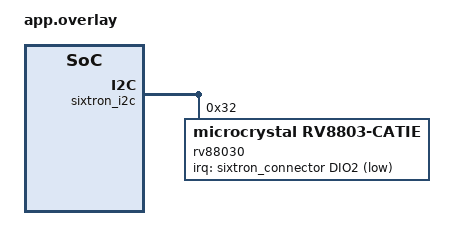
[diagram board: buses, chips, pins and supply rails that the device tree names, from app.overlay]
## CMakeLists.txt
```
# RV-8803-C7 RTC example application
#
# Copyright (c) 2024 CATIE
# SPDX-License-Identifier: Apache-2.0

cmake_minimum_required(VERSION 3.20.0)
find_package(Zephyr REQUIRED HINTS $ENV{ZEPHYR_BASE})
project(rv_8803)

FILE(GLOB app_sources src/main.c)
target_sources(app PRIVATE ${app_sources})
```

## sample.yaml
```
sample:
  description: Demonstration of the RV-8803 RTC driver
  name: RV-8803 Sample
tests:
  sample.default:
    tags: rtc
    integration_platforms:
      - zest_core_stm32l4a6rg
    depends_on: i2c
```

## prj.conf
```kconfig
CONFIG_STDOUT_CONSOLE=y

CONFIG_MFD=y
CONFIG_MFD_RV8803_DETECT_BATTERY_STATE=y
CONFIG_MFD_RV8803_WORKQUEUE=y
CONFIG_MFD_RV8803_WORKQUEUE_PRIORITY=0
CONFIG_MFD_RV8803_WORKQUEUE_SIZE=512

CONFIG_RTC=y
CONFIG_RTC_ALARM=y
CONFIG_RTC_UPDATE=y

CONFIG_COUNTER=y

CONFIG_CLOCK_CONTROL=y

CONFIG_LOG=y
CONFIG_RTC_LOG_LEVEL_INF=y
```

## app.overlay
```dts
/*
 * Copyright (c) 2024 CATIE
 *
 * SPDX-License-Identifier: Apache-2.0
 */

#include <zephyr/dt-bindings/gpio/sixtron-header.h>

/ {
	aliases {
		rv8803 = &rv88030;
		rtc8803 = &rv88030_rtc;
		counter8803 = &rv88030_cnt;
		clock8803 = &rv88030_clk;
	};
};

&sixtron_i2c {
	status = "okay";

	rv88030: rv8803@32 {
		compatible = "microcrystal,rv8803-catie";
		reg = <0x32>;
		irq-gpios = <&sixtron_connector DIO2 (GPIO_ACTIVE_LOW | GPIO_PULL_UP)>;

		rv88030_rtc: rv8803-rtc {
			compatible = "microcrystal,rv8803-rtc-catie";
		};

		rv88030_cnt: rv8803-cnt {
			compatible = "microcrystal,rv8803-cnt-catie";
			frequency = "1";
		};

		rv88030_clk: rv8803-clk {
			compatible = "microcrystal,rv8803-clk-catie";
			#clock-cells = <0>;
		};
	};
};
```

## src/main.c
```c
/*
 * Copyright (c) 2024, CATIE
 * SPDX-License-Identifier: Apache-2.0
 */

#include <zephyr/kernel.h>
#include <zephyr/device.h>
#include <zephyr/drivers/rtc.h>
#include <zephyr/drivers/counter.h>
#include <zephyr/drivers/clock_control.h>

#include <time.h>
#include <string.h>

#if CONFIG_MFD_RV8803_DETECT_BATTERY_STATE
#include "rv8803.h"
#endif /* CONFIG_RV8803_DETECT_BATTERY_STATE */

#define RTC_TEST_GET_SET_TIME         (1767225595UL) // Wed Dec 31 2025 23:59:55 GMT+0000
#define TIME_SIZE                     64
#define RV8803_CLK_FREQUENCY_32768_HZ 0x00
#define RV8803_CLK_FREQUENCY_1024_HZ  0x01
#define RV8803_CLK_FREQUENCY_1_HZ     0x02

#define RV8803_DT_HAS_MFD CONFIG_DT_HAS_MICROCRYSTAL_RV8803_ENABLED
#define RV8803_DT_HAS_RTC CONFIG_DT_HAS_MICROCRYSTAL_RV8803_RTC_ENABLED
#define RV8803_DT_HAS_CNT CONFIG_DT_HAS_MICROCRYSTAL_RV8803_COUNTER_ENABLED
#define RV8803_DT_HAS_CLK CONFIG_DT_HAS_MICROCRYSTAL_RV8803_CLOCK_ENABLED

#define RV8803_NODE     DT_NODELABEL(rv88030)
#define RV8803_RTC_NODE DT_CHILD(RV8803_NODE, rv8803_rtc)
#define RV8803_CNT_NODE DT_CHILD(RV8803_NODE, rv8803_counter)
#define RV8803_CLK_NODE DT_CHILD(RV8803_NODE, rv8803_clock)

#if RV8803_DT_HAS_MFD
static const struct device *rv8803_dev = DEVICE_DT_GET(RV8803_NODE);
#endif
#if RV8803_DT_HAS_RTC
static const struct device *rtc_dev = DEVICE_DT_GET(RV8803_RTC_NODE);
#endif
#if RV8803_DT_HAS_CNT
static const struct device *cnt_dev = DEVICE_DT_GET(RV8803_CNT_NODE);
#endif
#if RV8803_DT_HAS_CLK
static const struct device *clk_dev = DEVICE_DT_GET(RV8803_CLK_NODE);
#endif

#if RV8803_DT_HAS_RTC
#if CONFIG_RTC_ALARM
static bool freq_32k = true;

void alarm_callback(const struct device *dev, uint16_t id, void *user_data)
{
	if (freq_32k) {
		printk("RTC Alarm detected: set rate[1024 Hz]!!\n");
		if (clock_control_set_rate(clk_dev, NULL, (void *)RV8803_CLK_FREQUENCY_1024_HZ) !=
		    0) {
			printk("Failed to set clock rate\n");
		}
		freq_32k = false;
	} else {
		printk("RTC Alarm detected: set rate[32768 Hz]!!\n");
		if (clock_control_set_rate(clk_dev, NULL, (void *)RV8803_CLK_FREQUENCY_32768_HZ) !=
		    0) {
			printk("Failed to set clock rate\n");
		}
		freq_32k = true;
	}
}
#endif

#if CONFIG_RTC_UPDATE && DT_ENUM_IDX(RV8803_RTC_NODE, update)
void update_callback(const struct device *dev, void *user_data)
{
	printk("RTC Update detected!!\n");
}
#endif
#endif

#if RV8803_DT_HAS_CNT
#if RV8803_DT_HAS_RTC && CONFIG_RTC_UPDATE && DT_ENUM_IDX(RV8803_RTC_NODE, update)
static bool up_flag = false;
#endif
void period_callback(const struct device *dev, void *user_data)
{
	printk("CNT Period detected!!\n");
#if RV8803_DT_HAS_RTC && CONFIG_RTC_UPDATE && DT_ENUM_IDX(RV8803_RTC_NODE, update)
	if (up_flag) {
		up_flag = false;
		if (rtc_update_set_callback(rtc_dev, NULL, NULL)) {
			printk("Failed to set update callback using rtc_update_set_callback()\n");
		}
	} else {
		up_flag = true;
		if (rtc_update_set_callback(rtc_dev, update_callback, NULL)) {
			printk("Failed to set update callback using rtc_update_set_callback()\n");
		}
	}
#endif
}
#endif

int main(void)
{

#if RV8803_DT_HAS_MFD
	if (!device_is_ready(rv8803_dev)) {
		printk("Device is not ready\n");
		return -ENODEV;
	}
	printk("RV8803 device is ready\n");

#if CONFIG_MFD_RV8803_DETECT_BATTERY_STATE
	struct rv8803_battery *battery = (struct rv8803_battery *)rv8803_dev->data;
	printk("RV8803: POR[%d] LOW[%d]\n", battery->power_on_reset, battery->low_battery);
#endif /* CONFIG_MFD_RV8803_DETECT_BATTERY_STATE */
#endif

#if RV8803_DT_HAS_RTC
	struct rtc_time datetime_set, datetime_get;
	char str[TIME_SIZE];
	if (!device_is_ready(rtc_dev)) {
		printk("Device is not ready\n");
		return -ENODEV;
	}
	printk("RTC device is ready\n");
#endif
#if RV8803_DT_HAS_CNT
	struct counter_top_cfg cfg;
	if (!device_is_ready(cnt_dev)) {
		printk("Device is not ready\n");
		return -ENODEV;
	}
	printk("CNT device is ready\n");
#endif
#if RV8803_DT_HAS_CLK
	if (!device_is_ready(clk_dev)) {
		printk("Device is not ready\n");
		return -ENODEV;
	}
	printk("CLK device is ready\n");

	int err = clock_control_set_rate(clk_dev, NULL, (void *)RV8803_CLK_FREQUENCY_32768_HZ);
	if (err == -EALREADY) {
		printk("Clock rate already set\n");
	} else if (err != 0) {
		printk("Failed to set clock rate[%d]\n", err);
	}

	uint32_t rate;
	if (clock_control_get_rate(clk_dev, NULL, &rate) != 0) {
		printk("Failed to get clock rate\n");
		return -EINVAL;
	}
	printk("Clock rate[%d]\n", rate);
#endif

#if RV8803_DT_HAS_RTC
	time_t timer_set = RTC_TEST_GET_SET_TIME;
	gmtime_r(&timer_set, (struct tm *)(&datetime_set));
	memset(&datetime_get, 0xFF, sizeof(datetime_get));
	if (rtc_set_time(rtc_dev, &datetime_set) != 0) {
		printk("Failed to set time\n");
		return -EINVAL;
	}
	printk("RTC set time SUCCEED\n");
	if (rtc_get_time(rtc_dev, &datetime_get) != 0) {
		printk("Failed to get time using rtc_time_get()\n");
		return -EINVAL;
	}
	printk("RTC get time SUCCEED\n");

#if CONFIG_RTC_ALARM && DT_PROP(RV8803_RTC_NODE, use_irq)
	/* Alarm setup */
	struct rtc_time datetime_alarm;
	datetime_alarm.tm_min = 1;
	datetime_alarm.tm_hour = 0;
	datetime_alarm.tm_mday = 0;
	datetime_alarm.tm_wday = 0;
	if (rtc_alarm_set_time(rtc_dev, 0, RTC_ALARM_TIME_MASK_MINUTE, &datetime_alarm)) {
		printk("Failed to set alarm time using rtc_alarm_set_time()\n");
		return -EINVAL;
	}
	printk("Setter[%ld] datetime [%d|%d %d:%d]\n", RTC_ALARM_TIME_MASK_MINUTE,
	       datetime_alarm.tm_wday, datetime_alarm.tm_mday, datetime_alarm.tm_hour,
	       datetime_alarm.tm_min);

	uint16_t value = 0;
	if (rtc_alarm_get_time(rtc_dev, 0, &value, &datetime_alarm)) {
		printk("Failed to get alarm time using rtc_alarm_get_time()\n");
		return -EINVAL;
	}
	printk("Getter[%d] datetime [%d|%d %d:%d]\n", value, datetime_alarm.tm_wday,
	       datetime_alarm.tm_mday, datetime_alarm.tm_hour, datetime_alarm.tm_min);
#if DT_ENUM_IDX(RV8803_RTC_NODE, alarm)
	int res = rtc_alarm_set_callback(rtc_dev, 0, alarm_callback, NULL);
	if (res) {
		printk("Failed to set alarm callback using rtc_alarm_set_callback(): [%d]\n", res);
	} else {
		printk("RTC set alarm callback using rtc_alarm_set_callback() SUCCEED\n");
	}
#endif
#endif

#if CONFIG_RTC_UPDATE
	/* Update setup */
#if !RV8803_DT_HAS_CNT && DT_ENUM_IDX(RV8803_RTC_NODE, update)
	if (rtc_update_set_callback(rtc_dev, update_callback, NULL)) {
		printk("Failed to set update callback using rtc_update_set_callback()\n");
	} else {
		printk("RTC set update callback using rtc_update_set_callback() SUCCEED\n");
	}
#endif
#endif
#endif

#if RV8803_DT_HAS_CNT
	/* Counter setup */
	const struct counter_config_info *cnt_config =
		(const struct counter_config_info *)cnt_dev->config;
	printk("Counter: freq[%d]\n", cnt_config->freq);
	printk("Counter: Max_value[%d]\n", cnt_config->max_top_value);
	printk("Counter: 2s ticks[%d]\n", counter_us_to_ticks(cnt_dev, 2000000));

	cfg.ticks = counter_us_to_ticks(cnt_dev, 2000000);
	cfg.callback = period_callback;
	err = counter_set_top_value(cnt_dev, &cfg);
	if (err) {
		printk("Failed to set Counter Top value [%d]\n", err);
	}
	if (counter_start(cnt_dev)) {
		printk("Failed to start Counter\n");
	}
#endif

	while (1) {
#if RV8803_DT_HAS_RTC
		// Example for Real-Time Controller
		if (rtc_get_time(rtc_dev, &datetime_get) != 0) {
			printk("Failed to get time using rtc_time_get()\n");
		}
		char output[32];
		char buf[16];

#if RV8803_DT_HAS_CNT && !DT_PROP(RV8803_CNT_NODE, use_irq)
		int interrupt = counter_get_pending_int(cnt_dev);
		sprintf(buf, "RTC_TIME[%c]", (interrupt) ? '1' : '0');

		if (interrupt) {
			period_callback(cnt_dev, NULL);
		}
#else
		sprintf(buf, "RTC_TIME");
#endif

#if CONFIG_RTC_ALARM && !DT_ENUM_IDX(RV8803_RTC_NODE, alarm)
		int value = rtc_alarm_is_pending(rtc_dev, 0);
		sprintf(output, "%s[%c]", buf, (value) ? '1' : '0');

		if (value) {
			alarm_callback(rtc_dev, 0, NULL);
		}
#else
		sprintf(output, "%s", buf);
#endif

		strftime(str, TIME_SIZE, "%c", rtc_time_to_tm(&datetime_get));
		printf("%s: [%s]\n", output, str);
#endif

		k_sleep(K_MSEC(1000));
	}
}
```
